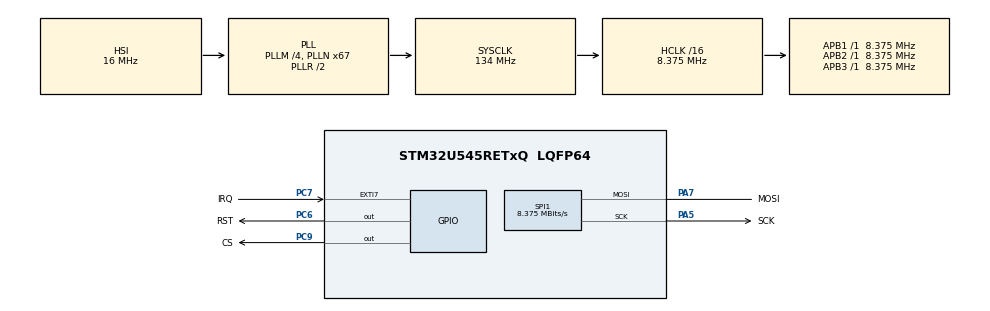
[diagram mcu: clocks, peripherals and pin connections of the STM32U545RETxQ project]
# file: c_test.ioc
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CORTEX_M33_NS.userName=CORTEX_M33
GPDMA1.DATAHANDLING_GPDMACH0=ENABLE
GPDMA1.DATAHANDLING_GPDMACH1=ENABLE
GPDMA1.DESTINC_GPDMACH1=DMA_DINC_INCREMENTED
GPDMA1.DIRECTION_GPDMACH0=DMA_MEMORY_TO_PERIPH
GPDMA1.IPHANDLE_GPDMACH0-SIMPLEREQUEST_GPDMACH0=__NULL
GPDMA1.IPHANDLE_GPDMACH1-SIMPLEREQUEST_GPDMACH1=__NULL
GPDMA1.REQUEST_GPDMACH0=GPDMA1_REQUEST_SPI1_TX
GPDMA1.REQUEST_GPDMACH1=GPDMA1_REQUEST_SPI1_RX
GPDMA1.SRCINC_GPDMACH0=DMA_SINC_INCREMENTED
Mcu.Family=STM32U5
Mcu.Name=STM32U545RETxQ
Mcu.Package=LQFP64
NVIC.EXTI7_IRQn=true\:0\:0\:false\:false\:true\:true\:true\:true
NVIC.GPDMA1_Channel0_IRQn=true\:0\:0\:false\:false\:true\:false\:true\:true
NVIC.GPDMA1_Channel1_IRQn=true\:0\:0\:false\:false\:true\:false\:true\:true
NVIC.PriorityGroup=NVIC_PRIORITYGROUP_4
NVIC.SPI1_IRQn=true\:0\:0\:false\:false\:true\:true\:true\:true
PA13\ (JTMS/SWDIO).Mode=Serial_Wire
PA13\ (JTMS/SWDIO).Signal=DEBUG_JTMS-SWDIO
PA14\ (JTCK/SWCLK).Mode=Serial_Wire
PA14\ (JTCK/SWCLK).Signal=DEBUG_JTCK-SWCLK
PA5.GPIO_Label=SCK
PA5.GPIO_Speed=GPIO_SPEED_FREQ_VERY_HIGH
PA5.Mode=Simplex_Bidirectional_Master
PA5.Signal=SPI1_SCK
PA7.GPIO_Label=MOSI
PA7.GPIO_Speed=GPIO_SPEED_FREQ_VERY_HIGH
PA7.Mode=Simplex_Bidirectional_Master
PA7.Signal=SPI1_MOSI
PC6.GPIO_Label=RST
PC6.PinState=GPIO_PIN_SET
PC6.Signal=GPIO_Output
PC7.GPIO_Label=IRQ
PC7.Signal=GPXTI7
PC9.GPIO_Label=CS
PC9.PinState=GPIO_PIN_SET
PC9.Signal=GPIO_Output
PWR.PowerMode=PWR_SMPS_SUPPLY
ProjectManager.HeapSize=0x200
ProjectManager.StackSize=0x400
ProjectManager.TargetToolchain=CMake
RCC.ADCFreq_Value=16000000
RCC.AHBCLKDivider=RCC_SYSCLK_DIV16
RCC.AHBFreq_Value=8375000
RCC.APB1Freq_Value=8375000
RCC.APB1TimFreq_Value=8375000
RCC.APB2Freq_Value=8375000
RCC.APB2TimFreq_Value=8375000
RCC.APB3Freq_Value=8375000
RCC.CortexFreq_Value=8375000
RCC.DACCLockSelectionVirtual=RCC_DAC1CLKSOURCE_LSI
RCC.DACCLockSelectionVirtualString=RCC_DAC1CLKSOURCE_LSI
RCC.EPOD_VALUE=16000000
RCC.HCLKFreq_Value=8375000
RCC.HSE_VALUE=16000000
RCC.HSI48_VALUE=48000000
RCC.HSI_VALUE=16000000
RCC.LSE_VALUE=32768
RCC.LSIDIV_VALUE=32000
RCC.MSI_VALUE=4000000
RCC.PLLM=4
RCC.PLLN=67
RCC.PLLSourceVirtual=RCC_PLLSOURCE_HSI
RCC.SYSCLKFreq_VALUE=134000000
RCC.SYSCLKSource=RCC_SYSCLKSOURCE_PLLCLK
RCC.USBFreq_Value=48000000
RCC.VCOOutputFreq_Value=268000000
SPI1.BaudRatePrescaler=SPI_BAUDRATEPRESCALER_16
SPI1.CalculateBaudRate=8.375 MBits/s
SPI1.DataSize=SPI_DATASIZE_8BIT
SPI1.Direction=SPI_DIRECTION_1LINE
SPI1.Mode=SPI_MODE_MASTER
SPI1.NSSPMode=SPI_NSS_PULSE_DISABLE
SPI1.VirtualType=VM_MASTER
VP_GPDMA1_VS_GPDMACH0.Mode=SIMPLEREQUEST_GPDMACH0
VP_GPDMA1_VS_GPDMACH1.Mode=SIMPLEREQUEST_GPDMACH1
VP_ICACHE_VS_ICACHE.Mode=DefaultMode
VP_LPBAMQUEUE_VS_QUEUE.Mode=QUEUEMODE
VP_LPBAM_VS_SIG1.Mode=SmartRun
VP_LPBAM_VS_SIG4.Mode=LPDMA1
VP_MEMORYMAP_VS_MEMORYMAP.Mode=CurAppReg
VP_PWR_VS_LPOM.Mode=PowerOptimisation
VP_PWR_VS_SECSignals.Mode=Security/Privilege
board=custom

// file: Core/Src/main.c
/* USER CODE BEGIN Header */
/**
 ******************************************************************************
 * @file           : main.c
 * @brief          : Main program body
 ******************************************************************************
 * @attention
 *
 * Copyright (c) 2024 STMicroelectronics.
 * All rights reserved.
 *
 * This software is licensed under terms that can be found in the LICENSE file
 * in the root directory of this software component.
 * If no LICENSE file comes with this software, it is provided AS-IS.
 *
 ******************************************************************************
 */
/* USER CODE END Header */
#include "main.h"

/* USER CODE BEGIN Includes */
#include "SEGGER_RTT.h"
#include "fh101rf.h"
#include "fh101rf_reg.h"
#include "stm32u5xx_hal.h"
#include "stm32u5xx_hal_def.h"
#include "stm32u5xx_hal_gpio.h"
#include "stm32u5xx_hal_pwr_ex.h"
#include "stm32u5xx_hal_spi.h"
#include <stdint.h>
/* USER CODE END Includes */

SPI_HandleTypeDef hspi1;
DMA_HandleTypeDef handle_GPDMA1_Channel1;
DMA_HandleTypeDef handle_GPDMA1_Channel0;

/* USER CODE BEGIN PV */
volatile uint8_t wur_irq_flag = false;
volatile uint8_t wur_spi_rx_cplt_flag = false;
volatile uint8_t wur_spi_tx_cplt_flag = false;
/* USER CODE END PV */

void SystemClock_Config(void);
static void SystemPower_Config(void);
static void MX_GPIO_Init(void);
static void MX_GPDMA1_Init(void);
static void MX_ICACHE_Init(void);
static void MX_SPI1_Init(void);
/* USER CODE BEGIN PFP */
fh101rf_err_t fh101rf_spi_read_reg(uint8_t reg_adr, uint8_t *res);
fh101rf_err_t fh101rf_spi_write_reg(uint8_t reg_adr, uint8_t val);
void fh101rf_rst_set(bool level);
void fh101rf_log(char *msg, bool is_err, bool has_int_arg, uint32_t arg);
/* USER CODE END PFP */

int main(void) {

  /* MCU Configuration--------------------------------------------------------*/

  /* Reset of all peripherals, Initializes the Flash interface and the Systick.
   */
  HAL_Init();

  /* USER CODE BEGIN Init */
  SEGGER_RTT_printf(0, "Starting up FH101R Test Application\r\n");
  /* USER CODE END Init */

  /* Configure the system clock */
  SystemClock_Config();

  /* Configure the System Power */
  SystemPower_Config();

  /* Initialize all configured peripherals */
  MX_GPIO_Init();
  MX_GPDMA1_Init();
  MX_ICACHE_Init();
  MX_SPI1_Init();
  /* USER CODE BEGIN 2 */

  // Initialize device struct
  fh101rf_err_t err = E_FH101RF_SUCCESS;
  struct fh101rf_h dev = {
      .sleep_ms = HAL_Delay,
      .spi_read_reg = fh101rf_spi_read_reg,
      .spi_write_reg = fh101rf_spi_write_reg,
      .rst_set = fh101rf_rst_set,
      .log = fh101rf_log,
  };

  // Load default configuration
  err = fh101rf_init_struct_with_reset_val(&dev.conf);
  if (err) {
    Error_Handler();
  }

  // Change desired configurations
  {
    dev.conf.nfa868_slow.data = FH101RF_SAMPLE_RATE_SR_1_024;
    dev.conf.nfa868_fast.data = FH101RF_SAMPLE_RATE_SR_32_768;

    dev.conf.n_lco_target_868_lo.data =
        (uint8_t)(3465 & 0xFF); // (/ (* (+ 868.35 40) 1000000) (* 8 32768)) //
                                // 40MHz above carrier
    dev.conf.n_lco_target_868_hi.data =
        (uint8_t)((3465 >> 8) & 0xFF); // (/ (* (+ 868.35 40) 1000000) (* 8
                                       // 32768)) // 40MHz above carrier
    dev.conf.band_branch_ctrl.active_bands.band_433 = false;
    dev.conf.band_branch_ctrl.active_bands.band_868 = true;
    dev.conf.band_branch_ctrl.active_bands.band_2g4 = false;
    dev.conf.band_branch_ctrl.active_branches.weak = true;
    dev.conf.band_branch_ctrl.active_branches.medium = true;
    dev.conf.band_branch_ctrl.active_branches.strong = true;

    dev.conf.code_select.a = FH101RF_BIN_CODE_A;
    dev.conf.code_select.b = FH101RF_BIN_CODE_B;

    dev.conf.korrel_thresh_a.data = 0x1A;
    dev.conf.korrel_thresh_b.data = 0x1A;

    dev.conf.fdd_enable.fdd_bands.band_433 = false;
    dev.conf.fdd_enable.fdd_bands.band_868 = true;
    dev.conf.fdd_enable.fdd_bands.band_2g4 = false;

    dev.conf.irq_select.irq_select.correl_match = false;
    dev.conf.irq_select.irq_select.id_match = true;
    dev.conf.irq_select.irq_select.id_match_and_ldr = false;

    dev.conf.idm_enable.match_bands.band_433 = false;
    dev.conf.idm_enable.match_bands.band_868 = true;
    dev.conf.idm_enable.match_bands.band_2g4 = false;

    dev.conf.idm_ctrl.ctrl = FH101RF_CTRL_IND_ONLY;

    dev.conf.fifo_length.band_433 = FH101RF_FIFO_LEN_BIT16;
    dev.conf.fifo_length.band_868 = FH101RF_FIFO_LEN_BIT16;
    dev.conf.fifo_length.band_2g4 = FH101RF_FIFO_LEN_BIT16;

    dev.conf.xtal_osc_ctrl.data = 0x01;
    dev.conf.ldo_xtal_ctrl.xtal_osc_byp = false;
    dev.conf.ldo_xtal_ctrl.ldo_ena_nfa = false;

    dev.conf.mux_d_out_sel.out = FH101RF_OUT_IRQ_EVENT_1;
  }

  err = fh101rf_init(&dev);
  if (err != E_FH101RF_SUCCESS) {
    Error_Handler();
  }

  // change genpurp_1 register to random number
  dev.conf.genpurp_1.data = 0x5A;
  err = fh101rf_write_genpurp(&dev);
  if (err != E_FH101RF_SUCCESS) {
    Error_Handler();
  }

  /* USER CODE END 2 */

  /* Infinite loop */
  /* USER CODE BEGIN WHILE */
  while (1) {
    while (wur_irq_flag == false) {
      HAL_Delay(10);
      // HAL_PWREx_EnterSTOP2Mode(PWR_STOPENTRY_WFE);
    }
    SEGGER_RTT_printf(0, "Got IRQ\r\n");

    err = fh101rf_clear_irq(&dev);
    if (err != E_FH101RF_SUCCESS) {
      SEGGER_RTT_printf(0, "Failed to clear IRQ");
    }
    wur_irq_flag = false;

    // Read genpurp
    err = fh101rf_read_genpurp(&dev);
    if (err != E_FH101RF_SUCCESS) {
      SEGGER_RTT_printf(0, "Failed to read Genpurp 1");
    }
    SEGGER_RTT_printf(0, "Read genpurp1: %x\r\n", dev.conf.genpurp_1.data);

    /* USER CODE END WHILE */

  }
}

void SystemClock_Config(void) {
  RCC_OscInitTypeDef RCC_OscInitStruct = {0};
  RCC_ClkInitTypeDef RCC_ClkInitStruct = {0};

  /** Configure the main internal regulator output voltage
   */
  if (HAL_PWREx_ControlVoltageScaling(PWR_REGULATOR_VOLTAGE_SCALE1) != HAL_OK) {
    Error_Handler();
  }

  /** Initializes the CPU, AHB and APB buses clocks
   */
  RCC_OscInitStruct.OscillatorType = RCC_OSCILLATORTYPE_HSI;
  RCC_OscInitStruct.HSIState = RCC_HSI_ON;
  RCC_OscInitStruct.HSICalibrationValue = RCC_HSICALIBRATION_DEFAULT;
  RCC_OscInitStruct.PLL.PLLState = RCC_PLL_ON;
  RCC_OscInitStruct.PLL.PLLSource = RCC_PLLSOURCE_HSI;
  RCC_OscInitStruct.PLL.PLLMBOOST = RCC_PLLMBOOST_DIV1;
  RCC_OscInitStruct.PLL.PLLM = 4;
  RCC_OscInitStruct.PLL.PLLN = 67;
  RCC_OscInitStruct.PLL.PLLP = 2;
  RCC_OscInitStruct.PLL.PLLQ = 2;
  RCC_OscInitStruct.PLL.PLLR = 2;
  RCC_OscInitStruct.PLL.PLLRGE = RCC_PLLVCIRANGE_0;
  RCC_OscInitStruct.PLL.PLLFRACN = 0;
  if (HAL_RCC_OscConfig(&RCC_OscInitStruct) != HAL_OK) {
    Error_Handler();
  }

  /** Initializes the CPU, AHB and APB buses clocks
   */
  RCC_ClkInitStruct.ClockType = RCC_CLOCKTYPE_HCLK | RCC_CLOCKTYPE_SYSCLK |
                                RCC_CLOCKTYPE_PCLK1 | RCC_CLOCKTYPE_PCLK2 |
                                RCC_CLOCKTYPE_PCLK3;
  RCC_ClkInitStruct.SYSCLKSource = RCC_SYSCLKSOURCE_PLLCLK;
  RCC_ClkInitStruct.AHBCLKDivider = RCC_SYSCLK_DIV16;
  RCC_ClkInitStruct.APB1CLKDivider = RCC_HCLK_DIV1;
  RCC_ClkInitStruct.APB2CLKDivider = RCC_HCLK_DIV1;
  RCC_ClkInitStruct.APB3CLKDivider = RCC_HCLK_DIV1;

  if (HAL_RCC_ClockConfig(&RCC_ClkInitStruct, FLASH_LATENCY_0) != HAL_OK) {
    Error_Handler();
  }
}

/**
 * @brief Power Configuration
 * @retval None
 */
static void SystemPower_Config(void) {

  /*
   * Switch to SMPS regulator instead of LDO
   */
  if (HAL_PWREx_ConfigSupply(PWR_SMPS_SUPPLY) != HAL_OK) {
    Error_Handler();
  }
}

static void MX_GPDMA1_Init(void) {

  /* Peripheral clock enable */
  __HAL_RCC_GPDMA1_CLK_ENABLE();

  /* GPDMA1 interrupt Init */
  HAL_NVIC_SetPriority(GPDMA1_Channel0_IRQn, 0, 0);
  HAL_NVIC_EnableIRQ(GPDMA1_Channel0_IRQn);
  HAL_NVIC_SetPriority(GPDMA1_Channel1_IRQn, 0, 0);
  HAL_NVIC_EnableIRQ(GPDMA1_Channel1_IRQn);

}

static void MX_ICACHE_Init(void) {

  /** Enable instruction cache (default 2-ways set associative cache)
   */
  if (HAL_ICACHE_Enable() != HAL_OK) {
    Error_Handler();
  }
}

static void MX_SPI1_Init(void) {

  SPI_AutonomousModeConfTypeDef HAL_SPI_AutonomousMode_Cfg_Struct = {0};

  /* SPI1 parameter configuration*/
  hspi1.Instance = SPI1;
  hspi1.Init.Mode = SPI_MODE_MASTER;
  hspi1.Init.Direction = SPI_DIRECTION_1LINE;
  hspi1.Init.DataSize = SPI_DATASIZE_8BIT;
  hspi1.Init.CLKPolarity = SPI_POLARITY_LOW;
  hspi1.Init.CLKPhase = SPI_PHASE_1EDGE;
  hspi1.Init.NSS = SPI_NSS_SOFT;
  hspi1.Init.BaudRatePrescaler = SPI_BAUDRATEPRESCALER_16;
  hspi1.Init.FirstBit = SPI_FIRSTBIT_MSB;
  hspi1.Init.TIMode = SPI_TIMODE_DISABLE;
  hspi1.Init.CRCCalculation = SPI_CRCCALCULATION_DISABLE;
  hspi1.Init.CRCPolynomial = 0x7;
  hspi1.Init.NSSPMode = SPI_NSS_PULSE_DISABLE;
  hspi1.Init.NSSPolarity = SPI_NSS_POLARITY_LOW;
  hspi1.Init.FifoThreshold = SPI_FIFO_THRESHOLD_01DATA;
  hspi1.Init.MasterSSIdleness = SPI_MASTER_SS_IDLENESS_00CYCLE;
  hspi1.Init.MasterInterDataIdleness = SPI_MASTER_INTERDATA_IDLENESS_00CYCLE;
  hspi1.Init.MasterReceiverAutoSusp = SPI_MASTER_RX_AUTOSUSP_DISABLE;
  hspi1.Init.MasterKeepIOState = SPI_MASTER_KEEP_IO_STATE_DISABLE;
  hspi1.Init.IOSwap = SPI_IO_SWAP_DISABLE;
  hspi1.Init.ReadyMasterManagement = SPI_RDY_MASTER_MANAGEMENT_INTERNALLY;
  hspi1.Init.ReadyPolarity = SPI_RDY_POLARITY_HIGH;
  if (HAL_SPI_Init(&hspi1) != HAL_OK) {
    Error_Handler();
  }
  HAL_SPI_AutonomousMode_Cfg_Struct.TriggerState = SPI_AUTO_MODE_DISABLE;
  HAL_SPI_AutonomousMode_Cfg_Struct.TriggerSelection =
      SPI_GRP1_GPDMA_CH0_TCF_TRG;
  HAL_SPI_AutonomousMode_Cfg_Struct.TriggerPolarity = SPI_TRIG_POLARITY_RISING;
  if (HAL_SPIEx_SetConfigAutonomousMode(
          &hspi1, &HAL_SPI_AutonomousMode_Cfg_Struct) != HAL_OK) {
    Error_Handler();
  }
}

static void MX_GPIO_Init(void) {
  GPIO_InitTypeDef GPIO_InitStruct = {0};

  /* GPIO Ports Clock Enable */
  __HAL_RCC_GPIOC_CLK_ENABLE();
  __HAL_RCC_GPIOH_CLK_ENABLE();
  __HAL_RCC_GPIOA_CLK_ENABLE();
  __HAL_RCC_GPIOB_CLK_ENABLE();
  __HAL_RCC_GPIOD_CLK_ENABLE();

  /*Configure GPIO pin Output Level */
  HAL_GPIO_WritePin(GPIOC, RST_Pin | CS_Pin, GPIO_PIN_SET);

  /*Configure GPIO pins : PC13 PC14 PC15 PC0
                           PC1 PC2 PC3 PC8
                           PC10 PC11 PC12 */
  GPIO_InitStruct.Pin = GPIO_PIN_13 | GPIO_PIN_14 | GPIO_PIN_15 | GPIO_PIN_0 |
                        GPIO_PIN_1 | GPIO_PIN_2 | GPIO_PIN_3 | GPIO_PIN_8 |
                        GPIO_PIN_10 | GPIO_PIN_11 | GPIO_PIN_12;
  GPIO_InitStruct.Mode = GPIO_MODE_ANALOG;
  GPIO_InitStruct.Pull = GPIO_NOPULL;
  HAL_GPIO_Init(GPIOC, &GPIO_InitStruct);

  /*Configure GPIO pins : PH0 PH1 PH3 */
  GPIO_InitStruct.Pin = GPIO_PIN_0 | GPIO_PIN_1 | GPIO_PIN_3;
  GPIO_InitStruct.Mode = GPIO_MODE_ANALOG;
  GPIO_InitStruct.Pull = GPIO_NOPULL;
  HAL_GPIO_Init(GPIOH, &GPIO_InitStruct);

  /*Configure GPIO pins : PA0 PA1 PA2 PA3
                           PA4 PA6 PA8 PA9
                           PA10 PA11 PA12 PA15 */
  GPIO_InitStruct.Pin = GPIO_PIN_0 | GPIO_PIN_1 | GPIO_PIN_2 | GPIO_PIN_3 |
                        GPIO_PIN_4 | GPIO_PIN_6 | GPIO_PIN_8 | GPIO_PIN_9 |
                        GPIO_PIN_10 | GPIO_PIN_11 | GPIO_PIN_12 | GPIO_PIN_15;
  GPIO_InitStruct.Mode = GPIO_MODE_ANALOG;
  GPIO_InitStruct.Pull = GPIO_NOPULL;
  HAL_GPIO_Init(GPIOA, &GPIO_InitStruct);

  /*Configure GPIO pins : PB0 PB1 PB2 PB10
                           PB13 PB14 PB15 PB3
                           PB4 PB5 PB6 PB7
                           PB8 */
  GPIO_InitStruct.Pin = GPIO_PIN_0 | GPIO_PIN_1 | GPIO_PIN_2 | GPIO_PIN_10 |
                        GPIO_PIN_13 | GPIO_PIN_14 | GPIO_PIN_15 | GPIO_PIN_3 |
                        GPIO_PIN_4 | GPIO_PIN_5 | GPIO_PIN_6 | GPIO_PIN_7 |
                        GPIO_PIN_8;
  GPIO_InitStruct.Mode = GPIO_MODE_ANALOG;
  GPIO_InitStruct.Pull = GPIO_NOPULL;
  HAL_GPIO_Init(GPIOB, &GPIO_InitStruct);

  /*Configure GPIO pins : RST_Pin CS_Pin */
  GPIO_InitStruct.Pin = RST_Pin | CS_Pin;
  GPIO_InitStruct.Mode = GPIO_MODE_OUTPUT_PP;
  GPIO_InitStruct.Pull = GPIO_NOPULL;
  GPIO_InitStruct.Speed = GPIO_SPEED_FREQ_LOW;
  HAL_GPIO_Init(GPIOC, &GPIO_InitStruct);

  /*Configure GPIO pin : IRQ_Pin */
  GPIO_InitStruct.Pin = IRQ_Pin;
  GPIO_InitStruct.Mode = GPIO_MODE_IT_RISING;
  GPIO_InitStruct.Pull = GPIO_NOPULL;
  HAL_GPIO_Init(IRQ_GPIO_Port, &GPIO_InitStruct);

  /*Configure GPIO pin : PD2 */
  GPIO_InitStruct.Pin = GPIO_PIN_2;
  GPIO_InitStruct.Mode = GPIO_MODE_ANALOG;
  GPIO_InitStruct.Pull = GPIO_NOPULL;
  HAL_GPIO_Init(GPIOD, &GPIO_InitStruct);

  /* EXTI interrupt init*/
  HAL_NVIC_SetPriority(EXTI7_IRQn, 0, 0);
  HAL_NVIC_EnableIRQ(EXTI7_IRQn);

}

/* USER CODE BEGIN 4 */
fh101rf_err_t fh101rf_spi_write_reg(uint8_t reg_adr, uint8_t val) {
  uint8_t buf[2] = {reg_adr, val};

  wur_spi_tx_cplt_flag = false;
  HAL_GPIO_WritePin(CS_GPIO_Port, CS_Pin, GPIO_PIN_RESET);
  HAL_StatusTypeDef ret = HAL_SPI_Transmit_DMA(&hspi1, buf, 2);
  while (!wur_spi_tx_cplt_flag) {
    __asm__("nop");
  }
  HAL_GPIO_WritePin(CS_GPIO_Port, CS_Pin, GPIO_PIN_SET);

  if (ret == HAL_OK) {
    return E_FH101RF_SUCCESS;
  }

  return E_FH101RF_COM_ERR;
}

fh101rf_err_t fh101rf_spi_read_reg(uint8_t reg_adr, uint8_t *res) {
  uint8_t buf[2] = {reg_adr, 0x00};
  uint8_t result[2] = {0x00, 0x00};

  wur_spi_tx_cplt_flag = false;
  HAL_GPIO_WritePin(CS_GPIO_Port, CS_Pin, GPIO_PIN_RESET);
  HAL_StatusTypeDef ret = HAL_SPI_Transmit_DMA(&hspi1, buf, 1);
  while (!wur_spi_tx_cplt_flag) {
    __asm__("nop");
  }

  wur_spi_rx_cplt_flag = false;
  ret = HAL_SPI_Receive_DMA(&hspi1, result, 1);
  while (!wur_spi_rx_cplt_flag) {
    __asm__("nop");
  }

  HAL_GPIO_WritePin(CS_GPIO_Port, CS_Pin, GPIO_PIN_SET);

  if (ret == HAL_OK) {
    *res = result[0];
    return E_FH101RF_SUCCESS;
  }

  return E_FH101RF_COM_ERR;
}

void fh101rf_rst_set(bool level) {
  HAL_GPIO_WritePin(RST_GPIO_Port, RST_Pin,
                    level ? GPIO_PIN_SET : GPIO_PIN_RESET);
}

void fh101rf_log(char *msg, bool is_err, bool has_int_arg, uint32_t arg) {
  char *format_str =
      is_err ? (has_int_arg ? "[ERR] %s, with value: %d\r\n" : "[ERR] %s\r\n")
             : (has_int_arg ? "[INF] %s, with value: %d\r\n" : "[INF] %s\r\n");
  if (has_int_arg) {
    SEGGER_RTT_printf(0, format_str, msg, arg);
  } else {
    SEGGER_RTT_printf(0, format_str, msg);
  }
}

void HAL_GPIO_EXTI_Rising_Callback(uint16_t GPIO_Pin) {
  if (GPIO_Pin == IRQ_Pin) {
    wur_irq_flag = true;
  }
}

void HAL_SPI_TxCpltCallback(SPI_HandleTypeDef *hspi) {
  if (hspi == &hspi1) {
    wur_spi_tx_cplt_flag = true;
  }
}

void HAL_SPI_RxCpltCallback(SPI_HandleTypeDef *hspi) {
  if (hspi == &hspi1) {
    wur_spi_rx_cplt_flag = true;
  }
}
/* USER CODE END 4 */

void Error_Handler(void) {
  __disable_irq();
  while (1) {
  }
}

#ifdef USE_FULL_ASSERT
/**
 * @brief  Reports the name of the source file and the source line number
 *         where the assert_param error has occurred.
 * @param  file: pointer to the source file name
 * @param  line: assert_param error line source number
 * @retval None
 */
void assert_failed(uint8_t *file, uint32_t line) {
  /* USER CODE BEGIN 6 */
  /* User can add his own implementation to report the file name and line
     number, ex: printf("Wrong parameters value: file %s on line %d\r\n", file,
     line) */
  /* USER CODE END 6 */
}
#endif /* USE_FULL_ASSERT */
